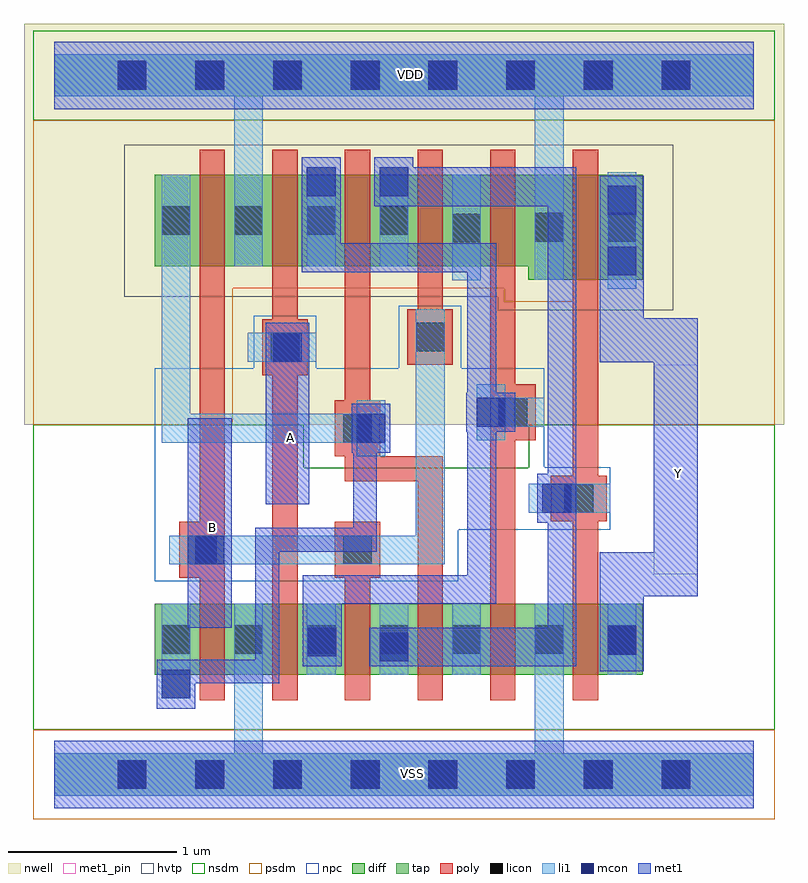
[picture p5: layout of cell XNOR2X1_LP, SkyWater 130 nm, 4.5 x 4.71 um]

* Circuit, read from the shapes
.subckt XNOR2X1_LP A B VDD VSS Y
XM1 VSS B n1 VSS sky130_fd_pr__nfet_01v8 w=0.42 l=0.15
XM2 n2 A VSS VSS sky130_fd_pr__nfet_01v8 w=0.42 l=0.15
XM3 n3 B n2 VSS sky130_fd_pr__nfet_01v8 w=0.42 l=0.15
XM4 n4 n1 n3 VSS sky130_fd_pr__nfet_01v8 w=0.42 l=0.15
XM5 VSS n2 n4 VSS sky130_fd_pr__nfet_01v8 w=0.42 l=0.15
XM6 Y n3 VSS VSS sky130_fd_pr__nfet_01v8 w=0.42 l=0.15
XM7 VDD B n1 VDD sky130_fd_pr__pfet_01v8_hvt w=0.54 l=0.15
XM8 n2 A VDD VDD sky130_fd_pr__pfet_01v8_hvt w=0.54 l=0.15
XM9 n3 n1 n2 VDD sky130_fd_pr__pfet_01v8_hvt w=0.54 l=0.15
XM10 n5 B n3 VDD sky130_fd_pr__pfet_01v8_hvt w=0.54 l=0.15
XM11 VDD n2 n5 VDD sky130_fd_pr__pfet_01v8_hvt w=0.54 l=0.15
XM12 Y n3 VDD VDD sky130_fd_pr__pfet_01v8_hvt w=0.62 l=0.15
.ends

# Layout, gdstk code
from math import pi, radians
import gdstk
lib = gdstk.Library(unit=1e-6, precision=1e-09)
def R(c, l, rs):  # rectangles x0, y0, x1, y1
    for r in rs: c.add(gdstk.rectangle(r[:2], r[2:], *l))
def A(c, l, x, y, w, h, nx, ny, dx, dy):  # array of equal rectangles
    R(c, l, [(x+i*dx, y+j*dy, x+i*dx+w, y+j*dy+h) for i in range(nx) for j in range(ny)])
def P(c, l, *ps):  # polygons
    for p in ps: c.add(gdstk.Polygon(p, *l))
nwell = (64, 20)
diff = (65, 20)
tap = (65, 44)
poly = (66, 20)
licon = (66, 44)
li1 = (67, 20)
mcon = (67, 44)
met1_pin = (68, 16)
met1 = (68, 20)
hvtp = (78, 44)
nsdm = (93, 44)
psdm = (94, 20)
npc = (95, 20)

l1m1_c_cdns_758729379651 = lib.new_cell('L1M1_C_CDNS_7587293796513')
R(l1m1_c_cdns_758729379651, li1, [(-0.085,-0.085,0.085,0.165)])
R(l1m1_c_cdns_758729379651, mcon, [(-0.085,-0.085,0.085,0.085)])
R(l1m1_c_cdns_758729379651, met1, [(-0.115,-0.145,0.115,0.145)])

l1m1_c_cdns_758729379655 = lib.new_cell('L1M1_C_CDNS_758729379655')
R(l1m1_c_cdns_758729379655, li1, [(-0.085,-0.165,0.085,0.165)])
R(l1m1_c_cdns_758729379655, mcon, [(-0.085,-0.085,0.085,0.085)])
R(l1m1_c_cdns_758729379655, met1, [(-0.115,-0.145,0.115,0.145)])

pyl1con_c_cdns_758729379 = lib.new_cell('PYL1CON_C_CDNS_758729379653')
R(pyl1con_c_cdns_758729379, poly, [(-0.135,-0.165,0.135,0.165)])
R(pyl1con_c_cdns_758729379, licon, [(-0.085,-0.085,0.085,0.085)])
R(pyl1con_c_cdns_758729379, npc, [(-0.185,-0.185,0.185,0.185)])

l1m1_c_cdns_758729379658 = lib.new_cell('L1M1_C_CDNS_758729379658')
R(l1m1_c_cdns_758729379658, li1, [(-0.085,-0.165,0.085,0.085)])
R(l1m1_c_cdns_758729379658, mcon, [(-0.085,-0.085,0.085,0.085)])
R(l1m1_c_cdns_758729379658, met1, [(-0.115,-0.145,0.115,0.145)])

l1m1_c_cdns_758729379652 = lib.new_cell('L1M1_C_CDNS_758729379652')
R(l1m1_c_cdns_758729379652, li1, [(-0.085,-0.165,0.085,0.165)])
R(l1m1_c_cdns_758729379652, mcon, [(-0.085,-0.085,0.085,0.085)])
R(l1m1_c_cdns_758729379652, met1, [(-0.145,-0.115,0.145,0.115)])

l1m1_c_cdns_758729379659 = lib.new_cell('L1M1_C_CDNS_758729379659')
R(l1m1_c_cdns_758729379659, li1, [(-0.085,-0.345,0.085,0.345)])
R(l1m1_c_cdns_758729379659, mcon, [(-0.085,-0.265,0.085,-0.095), (-0.085,0.095,0.085,0.265)])
R(l1m1_c_cdns_758729379659, met1, [(-0.115,-0.325,0.115,0.325)])

l1m1_c_cdns_758729379654 = lib.new_cell('L1M1_C_CDNS_758729379654')
R(l1m1_c_cdns_758729379654, li1, [(-0.165,-0.085,0.165,0.085)])
R(l1m1_c_cdns_758729379654, mcon, [(-0.085,-0.085,0.085,0.085)])
R(l1m1_c_cdns_758729379654, met1, [(-0.115,-0.145,0.115,0.145)])

xnor2x1_lp = lib.new_cell('XNOR2X1_LP')
R(xnor2x1_lp, nwell, [(-0.18,2.07,4.32,4.445)])
R(xnor2x1_lp, diff, [(0.595,0.59,3.485,1.01)])
P(xnor2x1_lp, diff, [(3.485,3.55),(0.595,3.55),(0.595,3.01),(2.805,3.01),(2.805,2.93),(3.485,2.93)])
R(xnor2x1_lp, poly, [(0.86,0.44,1.01,3.7), (1.29,0.44,1.44,3.7), (1.72,0.44,1.87,1.33), (2.58,0.44,2.73,3.7), (3.07,0.44,3.22,3.7), (2.15,2.59,2.3,3.7)])
P(xnor2x1_lp, poly, [(2.3,1.885),(1.93,1.885),(1.93,2.215),(1.87,2.215),(1.87,3.7),(1.72,3.7),(1.72,2.215),(1.66,2.215),(1.66,1.885),(1.72,1.885),(1.72,1.735),(2.15,1.735),(2.15,0.44),(2.3,0.44)])
A(xnor2x1_lp, licon, 0.375, -0.085, 0.17, 0.17, 8, 2, 0.46, 4.14)
A(xnor2x1_lp, licon, 0.635, 0.715, 0.17, 0.17, 5, 1, 0.43, 0)
A(xnor2x1_lp, licon, 0.635, 3.195, 0.17, 0.17, 4, 1, 0.43, 0)
R(xnor2x1_lp, licon, [(2.845,0.715,3.015,0.885), (3.275,0.715,3.445,0.885), (2.355,3.15,2.525,3.32), (2.845,3.155,3.015,3.325), (3.275,3.155,3.445,3.325)])
R(xnor2x1_lp, li1, [(0.635,0.59,0.805,1.01), (1.495,0.59,1.665,1.01), (1.925,0.59,2.095,1.01), (2.355,0.59,2.525,1.015), (3.275,0.59,3.445,1.01), (2.355,2.925,2.525,3.55), (3.275,2.93,3.445,3.55), (1.495,3.01,1.665,3.55), (1.925,3.01,2.095,3.55)])
P(xnor2x1_lp, li1, [(1.96,2.135),(0.805,2.135),(0.805,3.55),(0.635,3.55),(0.635,1.965),(1.96,1.965)],
  [(2.31,2.755),(2.14,2.755),(2.14,1.415),(0.68,1.415),(0.68,1.245),(2.31,1.245)],
  [(4.14,4.265),(0,4.265),(0,4.015),(1.065,4.015),(1.065,3.01),(1.235,3.01),(1.235,4.015),(2.845,4.015),(2.845,2.93),(3.015,2.93),(3.015,4.015),(4.14,4.015)],
  [(4.14,0.125),(3.015,0.125),(3.015,1.01),(2.845,1.01),(2.845,0.125),(1.235,0.125),(1.235,1.01),(1.065,1.01),(1.065,0.125),(0,0.125),(0,-0.125),(4.14,-0.125)])
A(xnor2x1_lp, mcon, 0.375, -0.085, 0.17, 0.17, 8, 2, 0.46, 4.14)
R(xnor2x1_lp, met1_pin, [(0.79,0.87,1.05,2.11), (3.55,1.185,3.81,2.425), (1.25,1.6,1.51,2.675)])
P(xnor2x1_lp, met1, [(1.91,2.05),(1.77,2.05),(1.77,1.46),(1.19,1.46),(1.19,0.68),(0.605,0.68),(0.605,0.535),(0.835,0.535),(0.835,0.54),(1.33,0.54),(1.33,1.32),(1.91,1.32)],
  [(2.615,3.145),(1.695,3.145),(1.695,3.51),(1.465,3.51),(1.465,2.975),(2.445,2.975),(2.445,1.18),(1.47,1.18),(1.47,0.85),(1.7,0.85),(1.7,1.01),(2.615,1.01)],
  [(3.09,3.595),(2.01,3.595),(2.01,3.365),(2.92,3.365),(2.92,0.87),(2,0.87),(2,0.64),(3.09,0.64)])
P(xnor2x1_lp, hvtp, [(3.665,3.73),(0.415,3.73),(0.415,2.83),(2.625,2.83),(2.625,2.75),(3.665,2.75)])
R(xnor2x1_lp, nsdm, [(-0.125,3.875,4.265,4.405)])
P(xnor2x1_lp, nsdm, [(4.265,2.07),(2.81,2.07),(2.81,1.815),(1.475,1.815),(1.475,2.07),(-0.125,2.07),(-0.125,0.265),(4.265,0.265)])
R(xnor2x1_lp, psdm, [(-0.125,-0.265,4.265,0.265)])
P(xnor2x1_lp, psdm, [(4.265,3.875),(-0.125,3.875),(-0.125,2.07),(1.055,2.07),(1.055,2.88),(2.665,2.88),(2.665,2.8),(3.07,2.8),(3.07,2.07),(4.265,2.07)])
P(xnor2x1_lp, npc, [(3.29,1.82),(2.9,1.82),(2.9,2.405),(0.595,2.405),(0.595,1.145),(2.39,1.145),(2.39,1.45),(3.29,1.45)])
xnor2x1_lp.add(gdstk.FlexPath([(1.145,2.53),(1.55,2.53)], 0.17, ends="flush", simple_path=True, layer=67, datatype=20))  # li1
xnor2x1_lp.add(gdstk.FlexPath([(2.595,2.145),(2.9,2.145)], 0.17, ends="flush", simple_path=True, layer=67, datatype=20))  # li1
xnor2x1_lp.add(gdstk.FlexPath([(2.985,1.635),(3.29,1.635)], 0.17, ends="flush", simple_path=True, layer=67, datatype=20))  # li1
xnor2x1_lp.add(gdstk.FlexPath([(0,4.14),(4.14,4.14)], 0.4, ends="flush", simple_path=True, layer=68, datatype=16))  # met1_pin
xnor2x1_lp.add(gdstk.FlexPath([(0,0),(4.14,0)], 0.4, ends="flush", simple_path=True, layer=68, datatype=16))  # met1_pin
xnor2x1_lp.add(gdstk.FlexPath([(0,4.14),(4.14,4.14)], 0.4, ends="flush", simple_path=True, layer=68, datatype=20))  # met1
xnor2x1_lp.add(gdstk.FlexPath([(0,0),(4.14,0)], 0.4, ends="flush", simple_path=True, layer=68, datatype=20))  # met1
xnor2x1_lp.add(gdstk.FlexPath([(1.38,1.6),(1.38,2.675)], 0.26, ends="flush", simple_path=True, layer=68, datatype=20))  # met1
xnor2x1_lp.add(gdstk.FlexPath([(3.36,3.22),(3.36,2.57),(3.68,2.57),(3.68,1.185),(3.36,1.185),(3.36,0.935)], 0.26, ends=(0.325, 0.325), simple_path=True, layer=68, datatype=20))  # met1
xnor2x1_lp.add(gdstk.FlexPath([(0.92,0.87),(0.92,2.11)], 0.26, ends="flush", simple_path=True, layer=68, datatype=20))  # met1
xnor2x1_lp.add(gdstk.FlexPath([(0,4.14),(4.14,4.14)], 0.25, ends="flush", simple_path=True, layer=65, datatype=44))  # tap
xnor2x1_lp.add(gdstk.FlexPath([(0,0),(4.14,0)], 0.25, ends="flush", simple_path=True, layer=65, datatype=44))  # tap
xnor2x1_lp.add(gdstk.Reference(l1m1_c_cdns_758729379651, (0.72,0.535)))
xnor2x1_lp.add(gdstk.Reference(l1m1_c_cdns_758729379655, (3.36,0.795)))
xnor2x1_lp.add(gdstk.Reference(l1m1_c_cdns_758729379655, (1.585,0.785)))
xnor2x1_lp.add(gdstk.Reference(l1m1_c_cdns_758729379655, (1.875,2.05), rotation=pi))
xnor2x1_lp.add(gdstk.Reference(pyl1con_c_cdns_758729379, (0.875,1.33)))
xnor2x1_lp.add(gdstk.Reference(pyl1con_c_cdns_758729379, (2.225,2.59)))
xnor2x1_lp.add(gdstk.Reference(pyl1con_c_cdns_758729379, (1.365,2.53)))
xnor2x1_lp.add(gdstk.Reference(pyl1con_c_cdns_758729379, (3.105,1.635), rotation=3*pi/2))
xnor2x1_lp.add(gdstk.Reference(pyl1con_c_cdns_758729379, (1.795,1.33)))
xnor2x1_lp.add(gdstk.Reference(pyl1con_c_cdns_758729379, (2.715,2.145)))
xnor2x1_lp.add(gdstk.Reference(pyl1con_c_cdns_758729379, (1.795,2.05)))
xnor2x1_lp.add(gdstk.Reference(l1m1_c_cdns_758729379658, (2.01,3.51)))
xnor2x1_lp.add(gdstk.Reference(l1m1_c_cdns_758729379658, (1.58,3.51)))
xnor2x1_lp.add(gdstk.Reference(l1m1_c_cdns_758729379652, (2.01,0.755)))
xnor2x1_lp.add(gdstk.Reference(l1m1_c_cdns_758729379659, (3.36,3.22)))
xnor2x1_lp.add(gdstk.Reference(l1m1_c_cdns_758729379654, (2.975,1.635)))
xnor2x1_lp.add(gdstk.Reference(l1m1_c_cdns_758729379654, (1.38,2.53), x_reflection=True))
xnor2x1_lp.add(gdstk.Reference(l1m1_c_cdns_758729379654, (2.585,2.145), rotation=3*pi/2))
xnor2x1_lp.add(gdstk.Reference(l1m1_c_cdns_758729379654, (0.92,1.33), x_reflection=True))
xnor2x1_lp.add(gdstk.Label('VSS', (2.12,0.005), layer=68, texttype=5))
xnor2x1_lp.add(gdstk.Label('VDD', (2.11,4.145), layer=68, texttype=5))
xnor2x1_lp.add(gdstk.Label('Y', (3.695,1.78), layer=68, texttype=5))
xnor2x1_lp.add(gdstk.Label('A', (1.395,1.995), layer=68, texttype=5))
xnor2x1_lp.add(gdstk.Label('B', (0.935,1.465), layer=68, texttype=5))

lib.write_gds('XNOR2X1_LP.gds')
